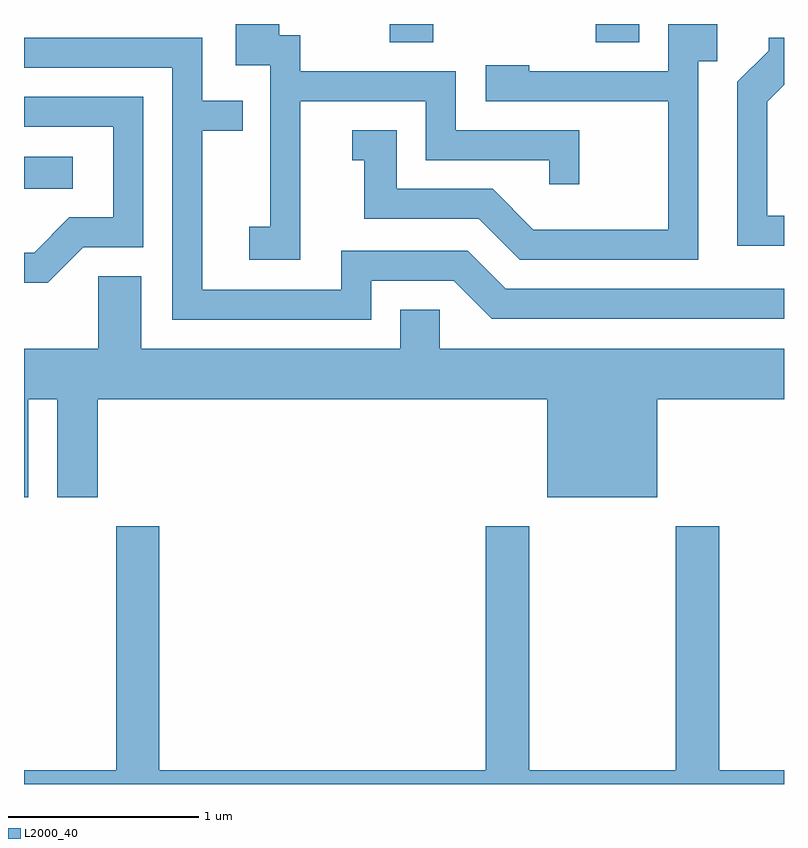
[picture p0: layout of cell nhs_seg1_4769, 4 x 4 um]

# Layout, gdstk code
import gdstk
lib = gdstk.Library(unit=1e-6, precision=1e-09)
def R(c, l, rs):  # rectangles x0, y0, x1, y1
    for r in rs: c.add(gdstk.rectangle(r[:2], r[2:], *l))
def P(c, l, *ps):  # polygons
    for p in ps: c.add(gdstk.Polygon(p, *l))
L2000_40 = (2000, 40)

nhs_seg1_4769 = lib.new_cell('nhs_seg1_4769')
R(nhs_seg1_4769, L2000_40, [(327.611,962.846,327.868,963.014), (329.536,963.616,329.764,963.712), (330.621,963.616,330.849,963.712)])
P(nhs_seg1_4769, L2000_40, [(329.064,963.306),(329.726,963.306),(329.726,962.996),(330.376,962.996),(330.376,962.868),(330.534,962.868),(330.534,963.154),(329.884,963.154),(329.884,963.464),(329.064,963.464),(329.064,963.654),(328.954,963.654),(328.954,963.712),(328.726,963.712),(328.726,963.496),(328.906,963.496),(328.906,962.644),(328.796,962.644),(328.796,962.471),(329.064,962.471)],
  [(331.159,963.516),(331.259,963.516),(331.259,963.712),(331.001,963.712),(331.001,963.464),(330.269,963.464),(330.269,963.494),(330.041,963.494),(330.041,963.306),(331.001,963.306),(331.001,962.629),(330.292,962.629),(330.077,962.844),(329.574,962.844),(329.574,963.154),(329.338,963.154),(329.338,962.996),(329.401,962.996),(329.401,962.686),(330.004,962.686),(330.219,962.471),(331.159,962.471)],
  [(331.611,962.704),(331.524,962.704),(331.524,963.304),(331.611,963.391),(331.611,963.639),(331.531,963.639),(331.531,963.572),(331.366,963.407),(331.366,962.546),(331.611,962.546)],
  [(329.439,962.361),(329.874,962.361),(330.074,962.161),(331.611,962.161),(331.611,962.319),(330.147,962.319),(329.947,962.519),(329.281,962.519),(329.281,962.314),(328.549,962.314),(328.549,963.151),(328.763,963.151),(328.763,963.309),(328.549,963.309),(328.549,963.639),(327.611,963.639),(327.611,963.481),(328.391,963.481),(328.391,962.156),(329.439,962.156)],
  [(327.922,962.536),(328.239,962.536),(328.239,963.329),(327.611,963.329),(327.611,963.171),(328.081,963.171),(328.081,962.694),(327.849,962.694),(327.664,962.509),(327.611,962.509),(327.611,962.351),(327.737,962.351)],
  [(327.634,961.736),(327.786,961.736),(327.786,961.221),(327.999,961.221),(327.999,961.736),(330.366,961.736),(330.366,961.221),(330.944,961.221),(330.944,961.736),(331.611,961.736),(331.611,962.004),(329.799,962.004),(329.799,962.209),(329.591,962.209),(329.591,962.004),(328.229,962.004),(328.229,962.384),(328.001,962.384),(328.001,962.004),(327.611,962.004),(327.611,961.221),(327.634,961.221)],
  [(331.611,959.784),(331.269,959.784),(331.269,961.069),(331.041,961.069),(331.041,959.784),(330.269,959.784),(330.269,961.069),(330.041,961.069),(330.041,959.784),(328.324,959.784),(328.324,961.069),(328.096,961.069),(328.096,959.784),(327.611,959.784),(327.611,959.712),(331.611,959.712)])

lib.write_gds('nhs_seg1_4769.gds')
